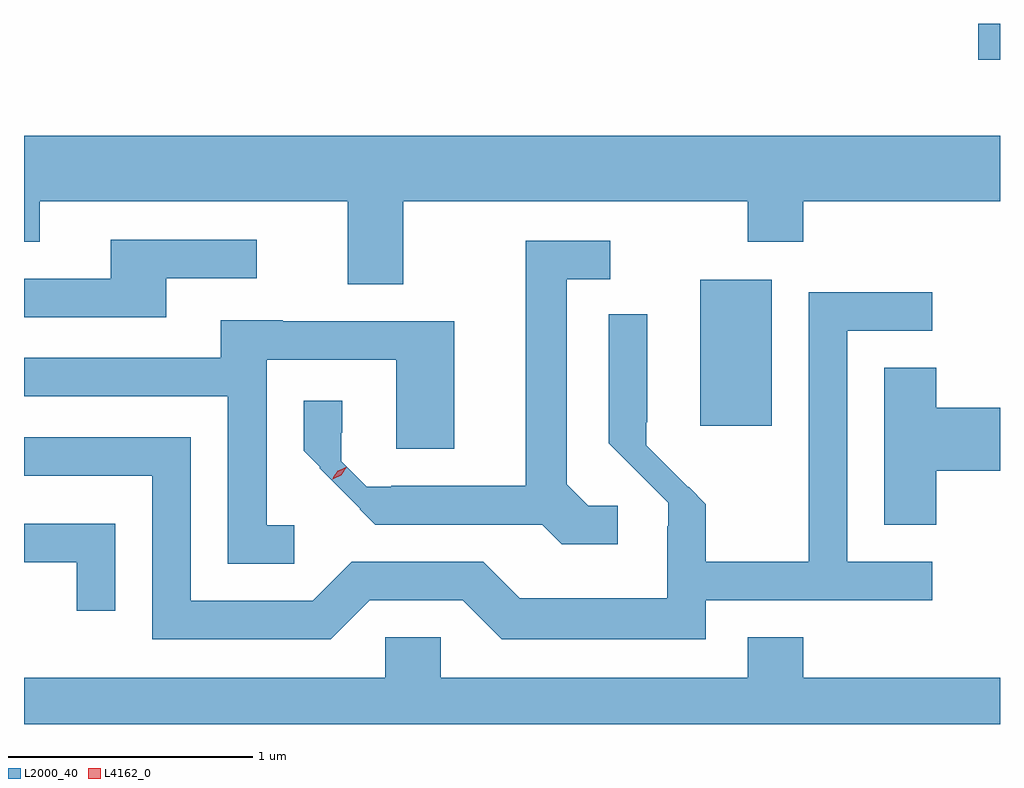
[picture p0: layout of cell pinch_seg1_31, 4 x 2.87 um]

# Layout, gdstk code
import gdstk
lib = gdstk.Library(unit=1e-6, precision=1e-09)
def R(c, l, rs):  # rectangles x0, y0, x1, y1
    for r in rs: c.add(gdstk.rectangle(r[:2], r[2:], *l))
def P(c, l, *ps):  # polygons
    for p in ps: c.add(gdstk.Polygon(p, *l))
L2000_40 = (2000, 40)
L4162_0 = (4162, 0)

pinch_seg1_31 = lib.new_cell('pinch_seg1_31')
R(pinch_seg1_31, L2000_40, [(1069.226,840.936,1069.519,841.534), (1070.366,842.436,1070.455,842.584)])
P(pinch_seg1_31, L2000_40, [(1068.009,841.856),(1069.421,841.856),(1069.421,841.691),(1069.649,841.691),(1069.649,841.856),(1070.455,841.856),(1070.455,842.124),(1066.455,842.124),(1066.455,841.691),(1066.519,841.691),(1066.519,841.856),(1067.781,841.856),(1067.781,841.516),(1068.009,841.516)],
  [(1067.039,841.541),(1067.408,841.541),(1067.408,841.699),(1066.811,841.699),(1066.811,841.539),(1066.455,841.539),(1066.455,841.381),(1067.039,841.381)],
  [(1068.888,840.609),(1068.767,840.609),(1068.679,840.697),(1068.679,841.536),(1068.858,841.536),(1068.858,841.694),(1068.511,841.694),(1068.511,840.689),(1067.96,840.689),(1067.96,840.685),(1067.86,840.685),(1067.755,840.79),(1067.755,840.908),(1067.759,840.908),(1067.759,841.038),(1067.601,841.038),(1067.601,840.834),(1067.669,840.766),(1067.666,840.764),(1067.834,840.596),(1067.831,840.594),(1067.894,840.531),(1068.579,840.531),(1068.659,840.451),(1068.888,840.451)],
  [(1067.872,840.221),(1068.254,840.221),(1068.414,840.061),(1069.249,840.061),(1069.249,840.221),(1070.178,840.221),(1070.178,840.379),(1069.829,840.379),(1069.829,841.326),(1070.178,841.326),(1070.178,841.484),(1069.671,841.484),(1069.671,840.379),(1069.249,840.379),(1069.249,840.615),(1069.179,840.685),(1069.177,840.684),(1069.006,840.855),(1069.006,840.95),(1069.009,840.95),(1069.009,841.393),(1068.851,841.393),(1068.851,840.864),(1069.095,840.62),(1069.095,840.525),(1069.091,840.525),(1069.091,840.229),(1068.487,840.229),(1068.337,840.379),(1067.799,840.379),(1067.639,840.219),(1067.139,840.219),(1067.139,840.889),(1066.455,840.889),(1066.455,840.731),(1066.981,840.731),(1066.981,840.061),(1067.712,840.061)],
  [(1067.563,840.529),(1067.449,840.529),(1067.449,841.206),(1067.981,841.206),(1067.981,840.841),(1068.219,840.841),(1068.219,841.364),(1067.515,841.364),(1067.515,841.369),(1067.261,841.369),(1067.261,841.214),(1066.455,841.214),(1066.455,841.056),(1067.291,841.056),(1067.291,840.371),(1067.563,840.371)],
  [(1070.194,840.751),(1070.455,840.751),(1070.455,841.009),(1070.194,841.009),(1070.194,841.174),(1069.981,841.174),(1069.981,840.531),(1070.194,840.531)],
  [(1066.829,840.534),(1066.455,840.534),(1066.455,840.376),(1066.671,840.376),(1066.671,840.178),(1066.829,840.178)],
  [(1070.455,839.904),(1069.649,839.904),(1069.649,840.069),(1069.421,840.069),(1069.421,839.904),(1068.164,839.904),(1068.164,840.069),(1067.936,840.069),(1067.936,839.904),(1066.455,839.904),(1066.455,839.712),(1070.455,839.712)])
P(pinch_seg1_31, L4162_0, [(1067.719,840.716),(1067.719,840.717),(1067.742,840.749),(1067.778,840.768),(1067.778,840.768),(1067.778,840.767),(1067.755,840.734),(1067.72,840.716)],
  [(1067.723,840.723),(1067.723,840.724),(1067.741,840.751),(1067.771,840.764),(1067.772,840.764),(1067.772,840.764),(1067.754,840.736),(1067.724,840.723)])

lib.write_gds('pinch_seg1_31.gds')
